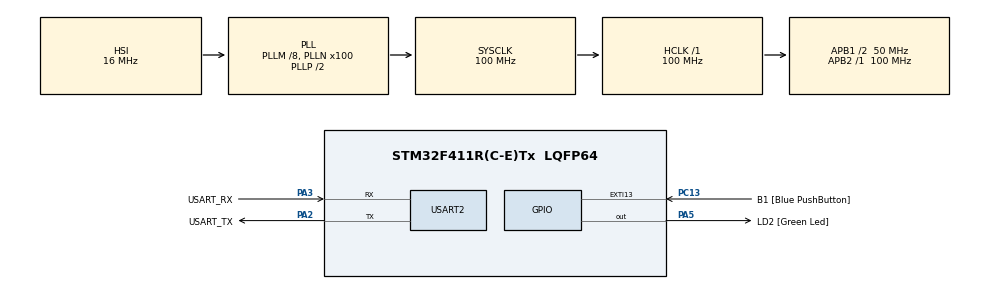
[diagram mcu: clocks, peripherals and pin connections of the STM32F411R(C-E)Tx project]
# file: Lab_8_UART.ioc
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Mcu.Family=STM32F4
Mcu.Name=STM32F411R(C-E)Tx
Mcu.Package=LQFP64
NVIC.PriorityGroup=NVIC_PRIORITYGROUP_0
NVIC.TIM2_IRQn=true\:0\:0\:false\:false\:true\:true\:true
NVIC.USART2_IRQn=true\:0\:0\:false\:false\:true\:true\:true
PA13.GPIO_Label=TMS
PA13.Mode=Serial_Wire
PA13.Signal=SYS_JTMS-SWDIO
PA14.GPIO_Label=TCK
PA14.Mode=Serial_Wire
PA14.Signal=SYS_JTCK-SWCLK
PA2.GPIO_Label=USART_TX
PA2.Mode=Asynchronous
PA2.Signal=USART2_TX
PA3.GPIO_Label=USART_RX
PA3.Mode=Asynchronous
PA3.Signal=USART2_RX
PA5.GPIO_Label=LD2 [Green Led]
PA5.Signal=GPIO_Output
PB3.GPIO_Label=SWO
PB3.Signal=SYS_JTDO-SWO
PC13-ANTI_TAMP.GPIO_Label=B1 [Blue PushButton]
PC13-ANTI_TAMP.GPIO_ModeDefaultEXTI=GPIO_MODE_IT_FALLING
PC13-ANTI_TAMP.Signal=GPXTI13
PC14-OSC32_IN.Mode=LSE-External-Oscillator
PC14-OSC32_IN.Signal=RCC_OSC32_IN
PC15-OSC32_OUT.Mode=LSE-External-Oscillator
PC15-OSC32_OUT.Signal=RCC_OSC32_OUT
PH0\ -\ OSC_IN.Mode=HSE-External-Clock-Source
PH0\ -\ OSC_IN.Signal=RCC_OSC_IN
PH1\ -\ OSC_OUT.Mode=HSE-External-Clock-Source
PH1\ -\ OSC_OUT.Signal=RCC_OSC_OUT
ProjectManager.HeapSize=0x200
ProjectManager.StackSize=0x400
ProjectManager.TargetToolchain=STM32CubeIDE
RCC.48MHZClocksFreq_Value=50000000
RCC.AHBFreq_Value=100000000
RCC.APB1CLKDivider=RCC_HCLK_DIV2
RCC.APB1Freq_Value=50000000
RCC.APB1TimFreq_Value=100000000
RCC.APB2Freq_Value=100000000
RCC.APB2TimFreq_Value=100000000
RCC.CortexFreq_Value=100000000
RCC.FLatency-AdvancedSettings=FLASH_LATENCY_3
RCC.HCLKFreq_Value=100000000
RCC.HSE_VALUE=8000000
RCC.HSI_VALUE=16000000
RCC.PLLM=8
RCC.PLLN=100
RCC.SYSCLKFreq_VALUE=100000000
RCC.SYSCLKSource=RCC_SYSCLKSOURCE_PLLCLK
RCC.VCOOutputFreq_Value=200000000
TIM2.Prescaler=99
USART2.VirtualMode=VM_ASYNC
VP_TIM2_VS_ClockSourceINT.Mode=Internal
board=NUCLEO-F411RE

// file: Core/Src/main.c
/* USER CODE BEGIN Header */
/**
  ******************************************************************************
  * @file           : main.c
  * @brief          : Main program body
  ******************************************************************************
  * @attention
  *
  * <h2><center>&copy; Copyright (c) 2021 STMicroelectronics.
  * All rights reserved.</center></h2>
  *
  * This software component is licensed by ST under BSD 3-Clause license,
  * the "License"; You may not use this file except in compliance with the
  * License. You may obtain a copy of the License at:
  *                        opensource.org/licenses/BSD-3-Clause
  *
  ******************************************************************************
  */
/* USER CODE END Header */
#include "main.h"

/* USER CODE BEGIN Includes */
#include <stdio.h>
#include <string.h>
/* USER CODE END Includes */

TIM_HandleTypeDef htim2;

UART_HandleTypeDef huart2;

/* USER CODE BEGIN PV */
char TxDataBuffer[128] = { 0 };
char RxDataBuffer[128] = { 0 };

uint8_t ButtonPress[2] = { 0 };
uint8_t State_Display = 0;
int8_t LED_Frequency = 1;
uint8_t LED_OnOff = 0;
uint64_t _micros = 0;
uint64_t Timestamp = 0;
float Tranfer_F_T = 0;
/* USER CODE END PV */

void SystemClock_Config(void);
static void MX_GPIO_Init(void);
static void MX_USART2_UART_Init(void);
static void MX_TIM2_Init(void);
/* USER CODE BEGIN PFP */
void UARTRecieveAndResponsePolling();
int16_t UARTRecieveIT();
uint64_t micros();
/* USER CODE END PFP */

int main(void)
{

  /* MCU Configuration--------------------------------------------------------*/

  /* Reset of all peripherals, Initializes the Flash interface and the Systick. */
  HAL_Init();

  /* Configure the system clock */
  SystemClock_Config();

  /* Initialize all configured peripherals */
  MX_GPIO_Init();
  MX_USART2_UART_Init();
  MX_TIM2_Init();
  /* USER CODE BEGIN 2 */

  HAL_TIM_Base_Start_IT(&htim2);

  /* USER CODE END 2 */

  /* Infinite loop */
  /* USER CODE BEGIN WHILE */
  while (1)
  {

	  HAL_UART_Receive_IT(&huart2, (uint8_t*)RxDataBuffer , 32);
	  int16_t inputchar = UARTRecieveIT();
	  ButtonPress[0] = HAL_GPIO_ReadPin(B1_GPIO_Port, B1_Pin);

	  switch (State_Display)
	  {
	  	  case 0: // Start State
	  	  {
	  		  sprintf(TxDataBuffer , "\n\n\n\n\n");
	  		  HAL_UART_Transmit(&huart2, (uint8_t*)TxDataBuffer , strlen(TxDataBuffer) , 1000);
	  		  State_Display = 1;
	  		  break;
	  	  }
		  case 1: // Print Main Menu
		  {
			  sprintf(TxDataBuffer , "\r\n****** Main Menu ****** \r\n1.LED Control \r\n2.Button Status\r\n");
			  HAL_UART_Transmit(&huart2, (uint8_t*)TxDataBuffer , strlen(TxDataBuffer) , 1000);
			  State_Display = 2;
			  break;
		  }

		  case 2: // Waiting Input in Case 1
		  {
			  switch (inputchar)
			  {
			  	  case -1: // No input
			  	  {
			  		  break;
			  	  }
			  	  case '1':
			  	  {
			  		  State_Display = 10;
			  		  break;
			  	  }
			  	  case '2':
			  	  {
			  		  State_Display = 20;
			  		  break;
			  	  }
			  	  default:
			  	  {
			  		  sprintf(TxDataBuffer , "\r\nPlease try again:[Unknown Input]\r\n");
					  HAL_UART_Transmit(&huart2, (uint8_t*)TxDataBuffer , strlen(TxDataBuffer) , 1000);
			  		  State_Display = 1;
			  		  break;
			  	  }
			  	  break;
			  }
			  break;
		  }

		  case 10: // LED Menu Print
		  {
			  sprintf(TxDataBuffer , "****** LED Control ****** \r\na.Speed Up +1 Hz \r\ns.Speed Down -1 Hz\r\nd.On / Off \r\nx.Back\r\n");
			  HAL_UART_Transmit(&huart2, (uint8_t*)TxDataBuffer , strlen(TxDataBuffer) , 1000);
			  sprintf(TxDataBuffer, "\r\nLED Frequency:[%d]\r\n", LED_Frequency);
			  HAL_UART_Transmit(&huart2, (uint8_t*)TxDataBuffer, strlen(TxDataBuffer), 1000);
			  if (LED_OnOff == 0)
			  {
				  sprintf(TxDataBuffer, "LED Status:[LED OFF]\r\n");
				  HAL_UART_Transmit(&huart2, (uint8_t*)TxDataBuffer, strlen(TxDataBuffer), 1000);
			  }
			  else if (LED_OnOff == 1)
			  {
				  sprintf(TxDataBuffer, "LED Status:[LED ON]\r\n");
				  HAL_UART_Transmit(&huart2, (uint8_t*)TxDataBuffer, strlen(TxDataBuffer), 1000);
			  }
			  State_Display = 11;
			  break;
		  }

		  case 11: // LED Menu Wait
		  {
			  switch (inputchar)
			  {
				  case -1:
				  {
					  break;
				  }
				  case 'a':
				  {
					  LED_Frequency += 1;
					  State_Display = 10;
					  break;
				  }
				  case 's':
				  {
					  LED_Frequency -= 1;
					  State_Display = 10;
					  break;
				  }
				  case 'd':
				  {
					  LED_OnOff ^= 1;
					  State_Display = 10;
					  break;
				  }
				  case 'x':
				  {
					  LED_Frequency = 0;
					  State_Display = 1;
					  break;
				  }
				  default:
				  {
					  sprintf(TxDataBuffer , "\r\nPlease try again:[Unknown Input]\r\n\n");
					  HAL_UART_Transmit(&huart2, (uint8_t*)TxDataBuffer , strlen(TxDataBuffer) , 1000);
					  State_Display = 10;
					  break;
				  }
				  break;
			  }
			  break;
		  }

		  case 20: // Button State Menu
		  {
			  sprintf(TxDataBuffer , "****** Button Status ****** \r\nx.Back\r\n");
			  HAL_UART_Transmit(&huart2, (uint8_t*)TxDataBuffer , strlen(TxDataBuffer) , 1000);
			  State_Display = 21;
			  break;
		  }

		  case 21:
		  {
			  if (ButtonPress[0] != ButtonPress[1])
			  {
				  if(ButtonPress[0] == 0)
				  	  {
					  	  sprintf(TxDataBuffer, "\r\nButton:[Pressed] \r\n");
						  HAL_UART_Transmit(&huart2, (uint8_t*) TxDataBuffer,strlen(TxDataBuffer), 1000);
				  	  }
				  else
				  	  {
					  	  sprintf(TxDataBuffer, "\r\nButton:[Not Pressed] \r\n");
					  	  HAL_UART_Transmit(&huart2, (uint8_t*) TxDataBuffer,strlen(TxDataBuffer), 1000);
					  }
				  State_Display = 20;
			  }
			  switch (inputchar)
			  {
			  	  case -1:
				  {
					  break;
				  }
				  case 'x':
				  {
					  State_Display = 1;
					  break;
				  }
				  default:
				  {
					  sprintf(TxDataBuffer , "\r\nPlease try again:[Wrong Input]\r\n");
					  HAL_UART_Transmit(&huart2, (uint8_t*)TxDataBuffer , strlen(TxDataBuffer) , 1000);
					  State_Display = 20;
					  break;
				  }
			  break;
			  }
		  }
		  break;
	  }

	  ButtonPress[1] = ButtonPress[0];

	  // LED Write and Blink
	  if (LED_OnOff == 0)
	  {
		  HAL_GPIO_WritePin(LD2_GPIO_Port, LD2_Pin, GPIO_PIN_RESET);
	  }
	  if (LED_OnOff == 1)
	  {
		  if (LED_Frequency == 0)
		  {
			  HAL_GPIO_WritePin(LD2_GPIO_Port, LD2_Pin, GPIO_PIN_RESET);
		  }
		  else
		  {
			  float TimePeroid = 0;
			  TimePeroid = 500/(float)LED_Frequency;
			  if (LED_Frequency < 0)
			  {
				  TimePeroid *= -1;
			  }
			  if (HAL_GetTick() - Timestamp >= TimePeroid)
			  {
				  Timestamp = HAL_GetTick();
				  HAL_GPIO_TogglePin(LD2_GPIO_Port, LD2_Pin);
			  }
		  }
	  }

    /* USER CODE END WHILE */

  }
}

void SystemClock_Config(void)
{
  RCC_OscInitTypeDef RCC_OscInitStruct = {0};
  RCC_ClkInitTypeDef RCC_ClkInitStruct = {0};

  /** Configure the main internal regulator output voltage
  */
  __HAL_RCC_PWR_CLK_ENABLE();
  __HAL_PWR_VOLTAGESCALING_CONFIG(PWR_REGULATOR_VOLTAGE_SCALE1);
  /** Initializes the RCC Oscillators according to the specified parameters
  * in the RCC_OscInitTypeDef structure.
  */
  RCC_OscInitStruct.OscillatorType = RCC_OSCILLATORTYPE_HSI;
  RCC_OscInitStruct.HSIState = RCC_HSI_ON;
  RCC_OscInitStruct.HSICalibrationValue = RCC_HSICALIBRATION_DEFAULT;
  RCC_OscInitStruct.PLL.PLLState = RCC_PLL_ON;
  RCC_OscInitStruct.PLL.PLLSource = RCC_PLLSOURCE_HSI;
  RCC_OscInitStruct.PLL.PLLM = 8;
  RCC_OscInitStruct.PLL.PLLN = 100;
  RCC_OscInitStruct.PLL.PLLP = RCC_PLLP_DIV2;
  RCC_OscInitStruct.PLL.PLLQ = 4;
  if (HAL_RCC_OscConfig(&RCC_OscInitStruct) != HAL_OK)
  {
    Error_Handler();
  }
  /** Initializes the CPU, AHB and APB buses clocks
  */
  RCC_ClkInitStruct.ClockType = RCC_CLOCKTYPE_HCLK|RCC_CLOCKTYPE_SYSCLK
                              |RCC_CLOCKTYPE_PCLK1|RCC_CLOCKTYPE_PCLK2;
  RCC_ClkInitStruct.SYSCLKSource = RCC_SYSCLKSOURCE_PLLCLK;
  RCC_ClkInitStruct.AHBCLKDivider = RCC_SYSCLK_DIV1;
  RCC_ClkInitStruct.APB1CLKDivider = RCC_HCLK_DIV2;
  RCC_ClkInitStruct.APB2CLKDivider = RCC_HCLK_DIV1;

  if (HAL_RCC_ClockConfig(&RCC_ClkInitStruct, FLASH_LATENCY_3) != HAL_OK)
  {
    Error_Handler();
  }
}

static void MX_TIM2_Init(void)
{

  TIM_ClockConfigTypeDef sClockSourceConfig = {0};
  TIM_MasterConfigTypeDef sMasterConfig = {0};

  htim2.Instance = TIM2;
  htim2.Init.Prescaler = 99;
  htim2.Init.CounterMode = TIM_COUNTERMODE_UP;
  htim2.Init.Period = 4294967295;
  htim2.Init.ClockDivision = TIM_CLOCKDIVISION_DIV1;
  htim2.Init.AutoReloadPreload = TIM_AUTORELOAD_PRELOAD_DISABLE;
  if (HAL_TIM_Base_Init(&htim2) != HAL_OK)
  {
    Error_Handler();
  }
  sClockSourceConfig.ClockSource = TIM_CLOCKSOURCE_INTERNAL;
  if (HAL_TIM_ConfigClockSource(&htim2, &sClockSourceConfig) != HAL_OK)
  {
    Error_Handler();
  }
  sMasterConfig.MasterOutputTrigger = TIM_TRGO_RESET;
  sMasterConfig.MasterSlaveMode = TIM_MASTERSLAVEMODE_DISABLE;
  if (HAL_TIMEx_MasterConfigSynchronization(&htim2, &sMasterConfig) != HAL_OK)
  {
    Error_Handler();
  }

}

static void MX_USART2_UART_Init(void)
{

  huart2.Instance = USART2;
  huart2.Init.BaudRate = 115200;
  huart2.Init.WordLength = UART_WORDLENGTH_8B;
  huart2.Init.StopBits = UART_STOPBITS_1;
  huart2.Init.Parity = UART_PARITY_NONE;
  huart2.Init.Mode = UART_MODE_TX_RX;
  huart2.Init.HwFlowCtl = UART_HWCONTROL_NONE;
  huart2.Init.OverSampling = UART_OVERSAMPLING_16;
  if (HAL_UART_Init(&huart2) != HAL_OK)
  {
    Error_Handler();
  }

}

static void MX_GPIO_Init(void)
{
  GPIO_InitTypeDef GPIO_InitStruct = {0};

  /* GPIO Ports Clock Enable */
  __HAL_RCC_GPIOC_CLK_ENABLE();
  __HAL_RCC_GPIOH_CLK_ENABLE();
  __HAL_RCC_GPIOA_CLK_ENABLE();
  __HAL_RCC_GPIOB_CLK_ENABLE();

  /*Configure GPIO pin Output Level */
  HAL_GPIO_WritePin(LD2_GPIO_Port, LD2_Pin, GPIO_PIN_RESET);

  /*Configure GPIO pin : B1_Pin */
  GPIO_InitStruct.Pin = B1_Pin;
  GPIO_InitStruct.Mode = GPIO_MODE_IT_FALLING;
  GPIO_InitStruct.Pull = GPIO_NOPULL;
  HAL_GPIO_Init(B1_GPIO_Port, &GPIO_InitStruct);

  /*Configure GPIO pin : LD2_Pin */
  GPIO_InitStruct.Pin = LD2_Pin;
  GPIO_InitStruct.Mode = GPIO_MODE_OUTPUT_PP;
  GPIO_InitStruct.Pull = GPIO_NOPULL;
  GPIO_InitStruct.Speed = GPIO_SPEED_FREQ_LOW;
  HAL_GPIO_Init(LD2_GPIO_Port, &GPIO_InitStruct);

}

/* USER CODE BEGIN 4 */
int16_t UARTRecieveIT()
{
	static uint32_t dataPos =0;
	int16_t data = -1;
	if(huart2.RxXferSize - huart2.RxXferCount != dataPos)
	{
		data = RxDataBuffer[dataPos];
		dataPos = (dataPos+1)%huart2.RxXferSize;
	}
	return data;
}

uint64_t micros()
{
	return _micros + htim2.Instance->CNT;
}

void HAL_TIM_PeriodElapsedCallback(TIM_HandleTypeDef *htim)
{
	if (htim == &htim2)
	{
		_micros += 4294967295;
	}
}
/* USER CODE END 4 */

void Error_Handler(void)
{
  __disable_irq();
  while (1)
  {
  }
}

/************************ (C) COPYRIGHT STMicroelectronics *****END OF FILE****/
